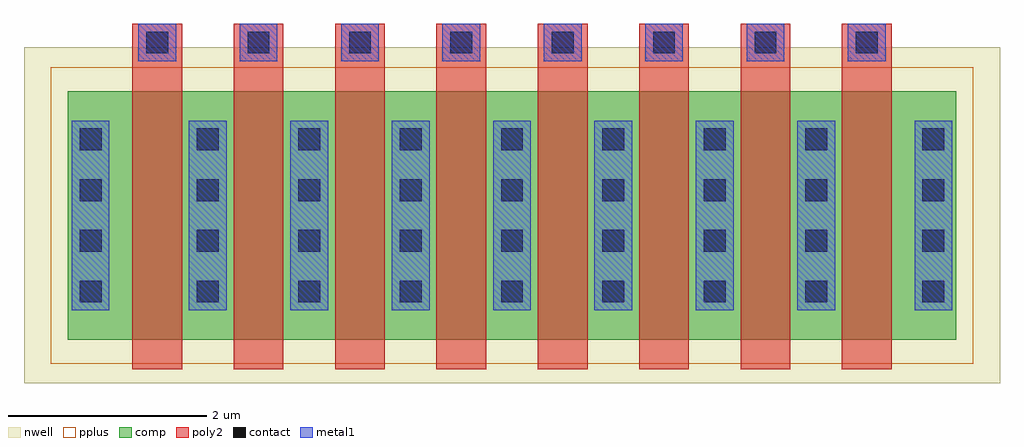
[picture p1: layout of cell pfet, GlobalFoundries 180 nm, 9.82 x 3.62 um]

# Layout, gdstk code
import gdstk
lib = gdstk.Library(unit=1e-6, precision=5e-09)
def R(c, l, rs):  # rectangles x0, y0, x1, y1
    for r in rs: c.add(gdstk.rectangle(r[:2], r[2:], *l))
def A(c, l, x, y, w, h, nx, ny, dx, dy):  # array of equal rectangles
    R(c, l, [(x+i*dx, y+j*dy, x+i*dx+w, y+j*dy+h) for i in range(nx) for j in range(ny)])
nwell = (21, 0)
comp = (22, 0)
poly2 = (30, 0)
pplus = (31, 0)
contact = (33, 0)
metal1 = (34, 0)

pfet = lib.new_cell('pfet')
R(pfet, nwell, [(-0.9,-0.44,8.92,2.94)])
R(pfet, comp, [(-0.46,0,0,2.5), (0,0,8.02,2.5), (8.02,0,8.48,2.5)])
A(pfet, poly2, 0.19, -0.3, 0.5, 3.1, 8, 1, 1.02, 0)
A(pfet, poly2, 0.19, 2.8, 0.5, 0.38, 8, 1, 1.02, 0)
R(pfet, pplus, [(-0.63,-0.24,8.65,2.74)])
A(pfet, contact, -0.34, 0.375, 0.22, 0.22, 1, 4, 0, 0.51)
A(pfet, contact, 0.84, 0.375, 0.22, 0.22, 7, 4, 1.02, 0.51)
A(pfet, contact, 8.14, 0.375, 0.22, 0.22, 1, 4, 0, 0.51)
A(pfet, contact, 0.33, 2.88, 0.22, 0.22, 8, 1, 1.02, 0)
A(pfet, metal1, 0.76, 0.295, 0.38, 1.91, 7, 1, 1.02, 0)
A(pfet, metal1, 0.25, 2.8, 0.38, 0.38, 8, 1, 1.02, 0)
R(pfet, metal1, [(-0.42,0.295,-0.04,2.205), (8.06,0.295,8.44,2.205)])

lib.write_gds('pfet.gds')
